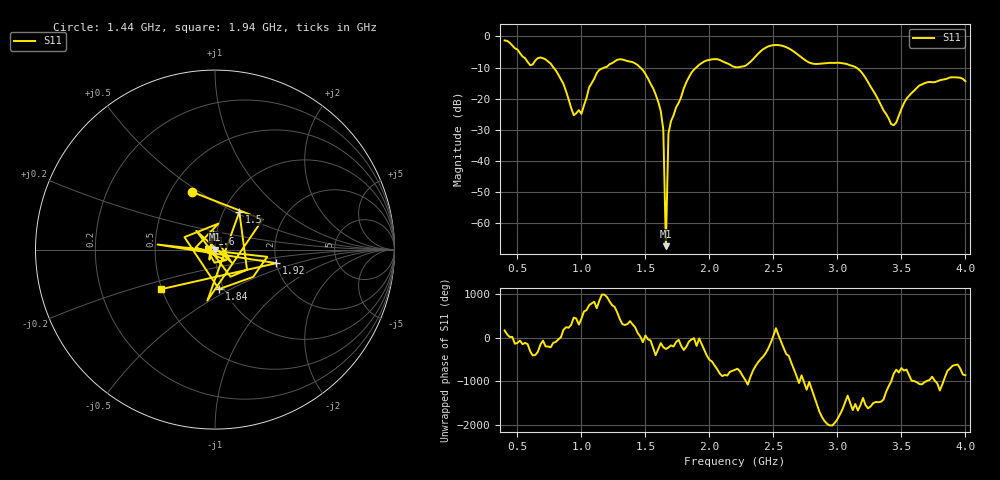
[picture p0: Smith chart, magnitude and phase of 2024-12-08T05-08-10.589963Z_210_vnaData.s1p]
!Created with skrf (http://scikit-rf.org).
# Hz S RI R 50.0
!freq ReS11 ImS11
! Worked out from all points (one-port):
!   181 points, 400 MHz to 4 GHz, reference 50 ohm
!   lowest |S11| = -67.3 dB at 1.66 GHz (marker M1), VSWR 1.00, Z = 50 + j0.0413 ohm
!   |S11| at or under -10 dB: 782 MHz to 1.179 GHz (397 MHz wide, 40.5 % of centre); 1.459 GHz to 1.896 GHz (437.8 MHz wide, 26.1 % of centre); 3.146 GHz to end of sweep
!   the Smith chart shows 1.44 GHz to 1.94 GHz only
!   S11 on the Smith chart (normalised r, x): 1.44 GHz: 0.64, +0.47; 1.5 GHz: 1.19, +0.53; 1.6 GHz: 0.96, +0.17; 1.84 GHz: 0.95, -0.44; 1.92 GHz: 2.00, -0.34; 1.94 GHz: 0.49, -0.25
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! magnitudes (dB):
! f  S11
! 400 MHz  -1.3
! 600 MHz  -9.3
! 720 MHz  -7.4
! 860 MHz  -15.3
! 940 MHz  -25.3
! 1 GHz  -24.9
! 1.12 GHz  -11.7
! 1.3 GHz  -7.3
! 1.44 GHz  -9.2
! 1.5 GHz  -12.1
! 1.6 GHz  -21.0
! 1.64 GHz  -30.0
! 1.66 GHz  -67.3
! 1.68 GHz  -31.2
! 1.76 GHz  -21.4
! 1.84 GHz  -13.1
! 1.92 GHz  -9.1
! 1.94 GHz  -8.6
! 2.2 GHz  -9.8
! 2.48 GHz  -3.0
! 2.66 GHz  -4.9
! 2.8 GHz  -8.7
! 3.1 GHz  -9.3
! 3.2 GHz  -12.1
! 3.42 GHz  -28.2
! 3.56 GHz  -19.1
! 3.7 GHz  -14.8
! 4 GHz  -14.4
